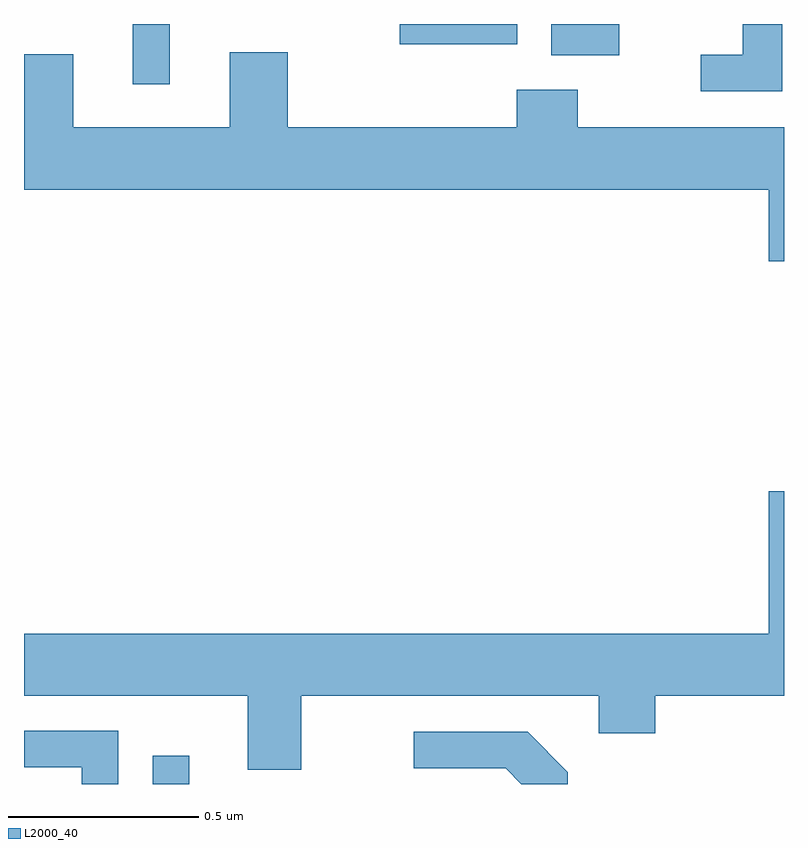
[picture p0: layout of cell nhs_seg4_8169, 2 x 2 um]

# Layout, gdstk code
import gdstk
lib = gdstk.Library(unit=1e-6, precision=1e-09)
def R(c, l, rs):  # rectangles x0, y0, x1, y1
    for r in rs: c.add(gdstk.rectangle(r[:2], r[2:], *l))
def P(c, l, *ps):  # polygons
    for p in ps: c.add(gdstk.Polygon(p, *l))
L2000_40 = (2000, 40)

nhs_seg4_8169 = lib.new_cell('nhs_seg4_8169')
R(nhs_seg4_8169, L2000_40, [(211.339,817.9,211.435,817.975), (211.286,819.741,211.384,819.9), (212.387,819.818,212.566,819.9), (211.989,819.847,212.298,819.9)])
P(nhs_seg4_8169, L2000_40, [(212.995,819.9),(212.891,819.9),(212.891,819.819),(212.781,819.819),(212.781,819.723),(212.995,819.723)],
  [(213,819.628),(212.457,819.628),(212.457,819.727),(212.297,819.727),(212.297,819.628),(211.694,819.628),(211.694,819.826),(211.541,819.826),(211.541,819.628),(211.129,819.628),(211.129,819.821),(211,819.821),(211,819.464),(212.96,819.464),(212.96,819.276),(213,819.276)],
  [(211.729,818.132),(212.513,818.132),(212.513,818.033),(212.661,818.033),(212.661,818.132),(213,818.132),(213,818.671),(212.96,818.671),(212.96,818.296),(211,818.296),(211,818.132),(211.589,818.132),(211.589,817.938),(211.729,817.938)],
  [(211.248,818.04),(211,818.04),(211,817.944),(211.152,817.944),(211.152,817.9),(211.248,817.9)],
  [(212.431,817.931),(212.325,818.037),(212.025,818.037),(212.025,817.941),(212.268,817.941),(212.309,817.9),(212.431,817.9)])

lib.write_gds('nhs_seg4_8169.gds')
